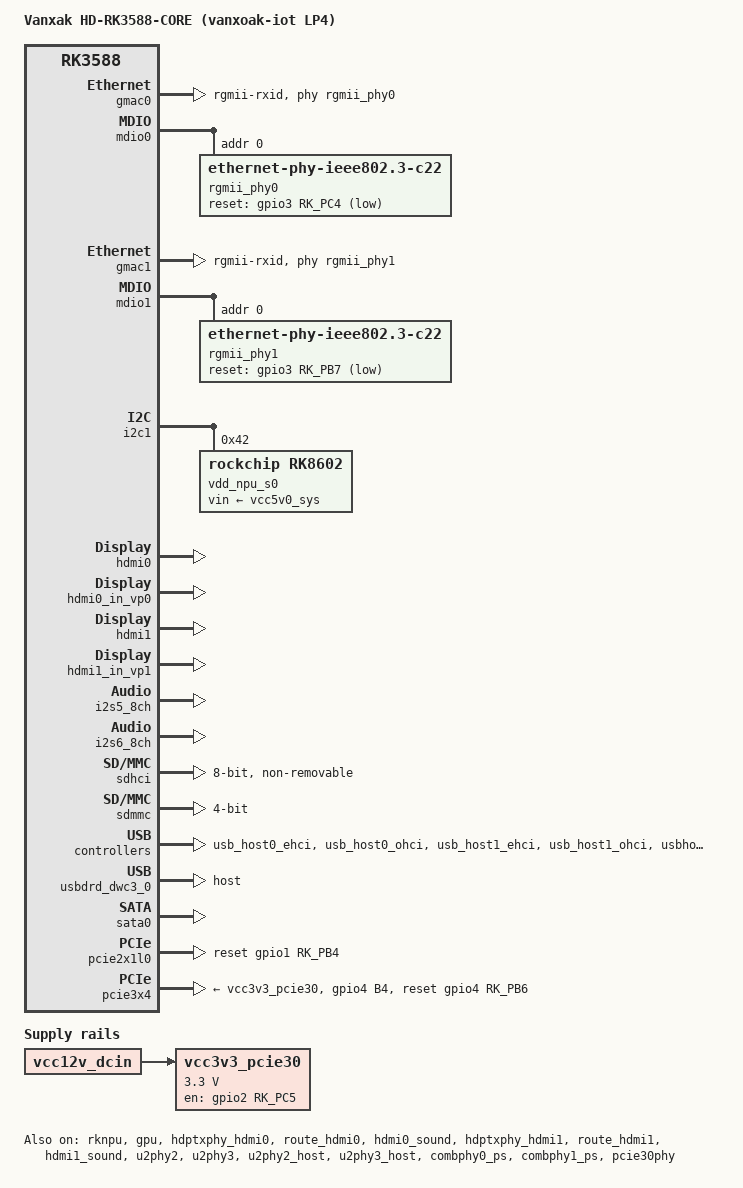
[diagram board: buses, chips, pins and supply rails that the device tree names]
// SPDX-License-Identifier: (GPL-2.0+ OR MIT)
/*
 * Vanxak HD-RK3588-CORE (vanxoak-iot LP4)
 *
 * Based on Rockchip vendor rk3588-evb4-lp4-v10-linux.dts (develop-6.1),
 * aligned with board bring-up + official Buildroot live DT:
 *   - UART FIQ console @ 115200
 *   - RJ45 on GMAC1, PHY MDIO addr 0, reset GPIO3_PB7
 *   - NPU buck on I2C1m2 (fea90000)
 *   - Dual HDMI TX (hdmi0 + hdmi1)
 *   - USB2/USB3 host, SD, PCIe RC, SATA (match Buildroot)
 */

/dts-v1/;

#include "dt-bindings/phy/phy-snps-pcie3.h"
#include "rk3588-evb4-lp4.dtsi"
#include "rk3588-linux.dtsi"

/ {
	model = "Vanxak HD-RK3588-CORE (vanxoak-iot LP4)";
	compatible = "vanxak,hd-rk3588-core", "rockchip,rk3588-evb4-lp4-v10", "rockchip,rk3588";

	chosen {
		bootargs = "earlycon=uart8250,mmio32,0xfeb50000 console=ttyFIQ0 root=PARTLABEL=rootfsA rw rootwait";
	};

	/* EVB4 reserves this for PCIe EP; this board is RC. Free it. */
	reserved-memory {
		/delete-node/ dma-trans@3c000000;
	};

	/*
	 * PCIe 3.0 slot 3V3 — Buildroot live DT uses GPIO2_PC5
	 * (EVB1 uses a different pin; follow this board's official image).
	 */
	vcc3v3_pcie30: vcc3v3-pcie30 {
		compatible = "regulator-fixed";
		regulator-name = "vcc3v3_pcie30";
		regulator-min-microvolt = <3300000>;
		regulator-max-microvolt = <3300000>;
		enable-active-high;
		gpios = <&gpio2 RK_PC5 GPIO_ACTIVE_HIGH>;
		startup-delay-us = <5000>;
		vin-supply = <&vcc12v_dcin>;
	};
};

/* Board UART is 115200 end-to-end (DDR / MiniLoader / Linux). */
&fiq_debugger {
	rockchip,baudrate = <115200>;
};

/*
 * work_led in rk3588-evb.dtsi uses GPIO3_PB7 — same pin as GMAC1 PHY reset.
 * Drop it so the PHY can own the line.
 */
/delete-node/ &work_led;

/* GMAC0 (fe1b0000) — second RJ45, same PHY topology as factory Buildroot DT.
 * systemd-networkd renames to ec0 for SOEM EtherCAT (no IP). */
&gmac0 {
	phy-mode = "rgmii-rxid";
	clock_in_out = "output";
	/delete-property/ snps,reset-gpio;
	/delete-property/ snps,reset-active-low;
	/delete-property/ snps,reset-delays-us;
	pinctrl-names = "default";
	pinctrl-0 = <&gmac0_miim
		     &gmac0_tx_bus2
		     &gmac0_rx_bus2
		     &gmac0_rgmii_clk
		     &gmac0_rgmii_bus>;
	tx_delay = <0x44>;
	rx_delay = <0x00>;
	assigned-clocks = <&cru CLK_GMAC_125M>, <&cru CLK_GMAC_50M>;
	assigned-clock-rates = <125000000>, <50000000>;
	phy-handle = <&rgmii_phy0>;
	status = "okay";
};

&mdio0 {
	rgmii_phy0: phy@1 {
		compatible = "ethernet-phy-ieee802.3-c22";
		reg = <0x0>;
		reset-gpios = <&gpio3 RK_PC4 GPIO_ACTIVE_LOW>;
		reset-assert-us = <20000>;
		reset-deassert-us = <100000>;
	};
};

/* GMAC1 (fe1c0000) — primary RJ45 (DHCP / management). */
&gmac1 {
	phy-mode = "rgmii-rxid";
	clock_in_out = "output";
	/* PHY reset owned by phy node (keeps RXCLK alive after deassert). */
	/delete-property/ snps,reset-gpio;
	/delete-property/ snps,reset-active-low;
	/delete-property/ snps,reset-delays-us;
	pinctrl-names = "default";
	pinctrl-0 = <&gmac1_miim
		     &gmac1_tx_bus2
		     &gmac1_rx_bus2
		     &gmac1_rgmii_clk
		     &gmac1_rgmii_bus>;
	tx_delay = <0x44>;
	rx_delay = <0x00>;
	assigned-clocks = <&cru CLK_GMAC_125M>, <&cru CLK_GMAC_50M>;
	assigned-clock-rates = <125000000>, <50000000>;
	phy-handle = <&rgmii_phy1>;
	status = "okay";
};

&mdio1 {
	/delete-node/ phy@1;

	/* Factory node name is phy@1 but MDIO address is 0. */
	rgmii_phy1: phy@1 {
		compatible = "ethernet-phy-ieee802.3-c22";
		reg = <0x0>;
		reset-gpios = <&gpio3 RK_PB7 GPIO_ACTIVE_LOW>;
		reset-assert-us = <20000>;
		reset-deassert-us = <100000>;
	};
};

/*
 * Factory live DT places vdd_npu_s0 on i2c@fea90000 (i2c1) with i2c1m2 pins.
 * Default i2c1m0 uses GPIO0_B5/B6 which FIQ debugger already claimed → NPU deferred.
 */
&i2c2 {
	/delete-node/ rk8602@42;
};

&i2c1 {
	status = "okay";
	pinctrl-names = "default";
	pinctrl-0 = <&i2c1m2_xfer>;

	vdd_npu_s0: vdd_npu_mem_s0: rk8602@42 {
		compatible = "rockchip,rk8602";
		reg = <0x42>;
		vin-supply = <&vcc5v0_sys>;
		regulator-compatible = "rk860x-reg";
		regulator-name = "vdd_npu_s0";
		regulator-min-microvolt = <550000>;
		regulator-max-microvolt = <950000>;
		regulator-ramp-delay = <2300>;
		rockchip,suspend-voltage-selector = <1>;
		regulator-boot-on;
		regulator-always-on;
		regulator-state-mem {
			regulator-off-in-suspend;
		};
	};
};

&rknpu {
	rknpu-supply = <&vdd_npu_s0>;
	mem-supply = <&vdd_npu_s0>;
	status = "okay";
};

&rknpu_mmu {
	status = "okay";
};

/* Mali-G610 (arm,mali-valhall); keep GPU rail on so kbase can probe. */
&vdd_gpu_s0 {
	regulator-always-on;
	regulator-boot-on;
};

&gpu {
	mali-supply = <&vdd_gpu_s0>;
	mem-supply = <&vdd_gpu_s0>;
	status = "okay";
};

/*
 * Dual HDMI TX — match Buildroot live DT (working desktop on HDMI-A-1):
 *   hdmi0@fde80000 enable GPIO4_PB1 → VP0
 *   hdmi1@fdea0000 enable GPIO4_PB2 → VP1
 */
&hdmi0 {
	enable-gpios = <&gpio4 RK_PB1 GPIO_ACTIVE_HIGH>;
	status = "okay";
};

&hdmi0_in_vp0 {
	status = "okay";
};

&hdptxphy_hdmi0 {
	status = "okay";
};

&route_hdmi0 {
	status = "okay";
	connect = <&vp0_out_hdmi0>;
};

&hdmi0_sound {
	status = "okay";
};

&hdmi1 {
	enable-gpios = <&gpio4 RK_PB2 GPIO_ACTIVE_HIGH>;
	status = "okay";
};

&hdmi1_in_vp1 {
	status = "okay";
};

&hdptxphy_hdmi1 {
	status = "okay";
};

&route_hdmi1 {
	status = "okay";
	connect = <&vp1_out_hdmi1>;
};

&hdmi1_sound {
	status = "okay";
};

/* I2S for HDMI audio (EVB sound cards bind i2s5/i2s6). */
&i2s5_8ch {
	status = "okay";
};

&i2s6_8ch {
	status = "okay";
};

/* onboard eMMC (mmc0 / fe2e0000) — 默认 HS400+CQE 在板子上频繁 CQE recovery/死机，
 * 降为 HS200 150MHz 并关闭 CMDQ。 */
&sdhci {
	max-frequency = <150000000>;
	bus-width = <8>;
	no-sdio;
	no-sd;
	non-removable;
	/delete-property/ mmc-hs400-1_8v;
	/delete-property/ mmc-hs400-enhanced-strobe;
	/delete-property/ supports-cqe;
	mmc-hs200-1_8v;
	status = "okay";
};

/* SD card — Buildroot okay; EVB left disabled. */
&sdmmc {
	max-frequency = <150000000>;
	no-sdio;
	no-mmc;
	bus-width = <4>;
	cap-mmc-highspeed;
	cap-sd-highspeed;
	disable-wp;
	sd-uhs-sdr104;
	vqmmc-supply = <&vccio_sd_s0>;
	status = "okay";
};

/* USB2 host — undo EVB4 disables (match Buildroot / EVB). */
&u2phy2 {
	status = "okay";
};

&u2phy3 {
	status = "okay";
};

&u2phy2_host {
	phy-supply = <&vcc5v0_host>;
	status = "okay";
};

&u2phy3_host {
	phy-supply = <&vcc5v0_host>;
	status = "okay";
};

&usb_host0_ehci {
	status = "okay";
};

&usb_host0_ohci {
	status = "okay";
};

&usb_host1_ehci {
	status = "okay";
};

&usb_host1_ohci {
	status = "okay";
};

/* USB3 host — undo EVB4 disables. */
&usbhost3_0 {
	status = "okay";
};

&usbhost_dwc3_0 {
	status = "okay";
};

/*
 * No Type-C controller on this core board (Buildroot has no fusb302).
 * Delete fusb302 entirely — disabling alone still leaves phandle refs to
 * dwc3/usbdp endpoints that we strip below.
 */
/delete-node/ &usbc0;

&i2c8 {
	status = "disabled";
};

&usbdrd_dwc3_0 {
	dr_mode = "host";
	/delete-property/ usb-role-switch;
	/delete-node/ port;
};

&usbdp_phy0 {
	/delete-property/ orientation-switch;
	/delete-property/ svid;
	/delete-property/ sbu1-dc-gpios;
	/delete-property/ sbu2-dc-gpios;
	/delete-node/ port;
};

/* Combphy for SATA0 + PCIe2x1 (Buildroot enables those controllers). */
&combphy0_ps {
	status = "okay";
};

&combphy1_ps {
	status = "okay";
};

&sata0 {
	status = "okay";
};

/* PCIe2 x1 — Buildroot reset GPIO1_PB4. */
&pcie2x1l0 {
	reset-gpios = <&gpio1 RK_PB4 GPIO_ACTIVE_HIGH>;
	status = "okay";
};

/* PCIe3 x4 as Root Complex (not EVB4 endpoint). */
&pcie30phy {
	rockchip,pcie30-phymode = <PHY_MODE_PCIE_AGGREGATION>;
	status = "okay";
};

/* EVB4 does not define this label; match EVB / Buildroot clkreq GPIO4_PB4. */
&pinctrl {
	pcie30x4 {
		pcie30x4_clkreqn_m1: pcie30x4-clkreqn-m1 {
			rockchip,pins = <4 RK_PB4 RK_FUNC_GPIO &pcfg_pull_down>;
		};
	};
};

&pcie3x4 {
	compatible = "rockchip,rk3588-pcie", "snps,dw-pcie";
	/delete-property/ memory-region;
	/delete-property/ busno;
	reset-gpios = <&gpio4 RK_PB6 GPIO_ACTIVE_HIGH>;
	vpcie3v3-supply = <&vcc3v3_pcie30>;
	pinctrl-names = "default";
	pinctrl-0 = <&pcie30x4_clkreqn_m1>;
	status = "okay";
};

/* Core board has no MIPI panel / DP Alt-Mode / touch from EVB4. */
&dsi0 {
	status = "disabled";
};

&dsi0_panel {
	status = "disabled";
};

&route_dsi0 {
	status = "disabled";
};

&dp0 {
	status = "disabled";
};

&gt1x {
	status = "disabled";
};

&hynitron {
	status = "disabled";
};

&i2c6 {
	status = "disabled";
};
